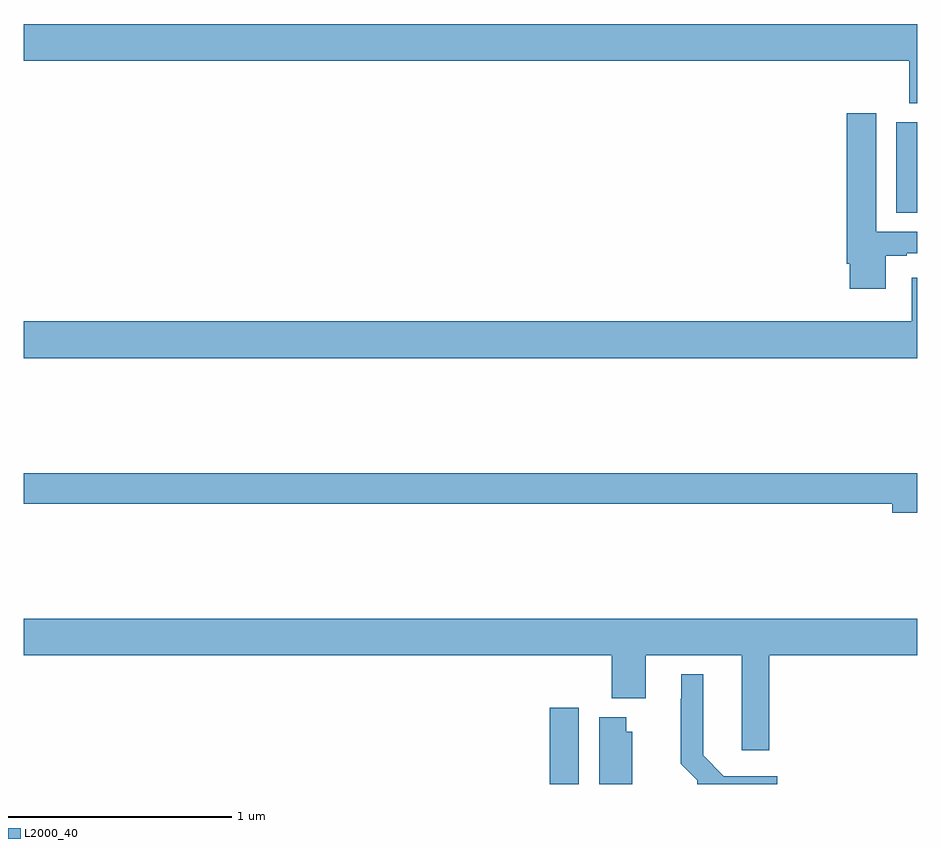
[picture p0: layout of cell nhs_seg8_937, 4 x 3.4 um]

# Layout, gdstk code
import gdstk
lib = gdstk.Library(unit=1e-6, precision=1e-09)
def R(c, l, rs):  # rectangles x0, y0, x1, y1
    for r in rs: c.add(gdstk.rectangle(r[:2], r[2:], *l))
def P(c, l, *ps):  # polygons
    for p in ps: c.add(gdstk.Polygon(p, *l))
L2000_40 = (2000, 40)

nhs_seg8_937 = lib.new_cell('nhs_seg8_937')
R(nhs_seg8_937, L2000_40, [(173.354,1139.9,173.485,1140.241), (174.908,1142.458,175,1142.863)])
P(nhs_seg8_937, L2000_40, [(175,1143.304),(171,1143.304),(171,1143.14),(174.965,1143.14),(174.965,1142.948),(175,1142.948)],
  [(174.859,1142.265),(174.955,1142.265),(174.955,1142.277),(175,1142.277),(175,1142.373),(174.817,1142.373),(174.817,1142.905),(174.686,1142.905),(174.686,1142.23),(174.698,1142.23),(174.698,1142.118),(174.859,1142.118)],
  [(175,1142.167),(174.977,1142.167),(174.977,1141.972),(171,1141.972),(171,1141.808),(175,1141.808)],
  [(175,1141.292),(171,1141.292),(171,1141.156),(174.89,1141.156),(174.89,1141.114),(175,1141.114)],
  [(174.338,1140.476),(175,1140.476),(175,1140.64),(171,1140.64),(171,1140.476),(173.633,1140.476),(173.633,1140.284),(173.785,1140.284),(173.785,1140.476),(174.215,1140.476),(174.215,1140.051),(174.338,1140.051)],
  [(174.373,1139.935),(174.135,1139.935),(174.043,1140.028),(174.043,1140.391),(173.945,1140.391),(173.945,1140.281),(173.941,1140.281),(173.941,1139.99),(174.015,1139.916),(174.015,1139.9),(174.373,1139.9)],
  [(173.725,1140.135),(173.698,1140.135),(173.698,1140.199),(173.576,1140.199),(173.576,1139.9),(173.725,1139.9)])

lib.write_gds('nhs_seg8_937.gds')
